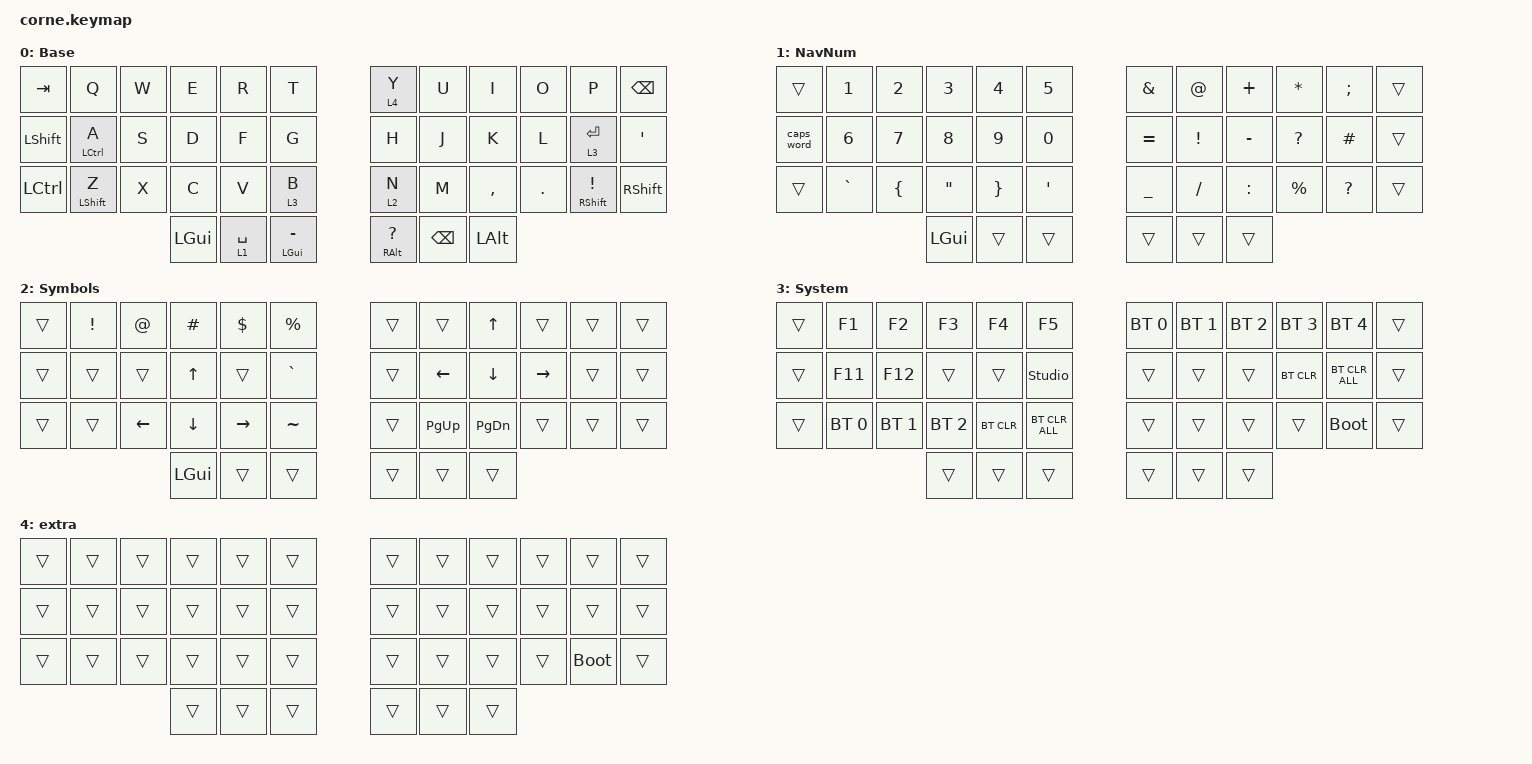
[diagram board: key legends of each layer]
#include <behaviors.dtsi>
#include <dt-bindings/zmk/bt.h>
#include <dt-bindings/zmk/keys.h>

#define DEF 0
#define NAV 1
#define SYM 2
#define ADJ 3
#define EXTRA 4

/ {
    behaviors {
        hm: homerow_mods {
            compatible = "zmk,behavior-hold-tap";
            label = "HOMEROW_MODS";
            #binding-cells = <2>;
            tapping-term-ms = <200>;
            quick_tap_ms = <0>;
            flavor = "tap-preferred";
            bindings = <&kp>, <&kp>;

            quick-tap-ms = <180>;
            global-quick-tap;
        };

        para: para {
            compatible = "zmk,behavior-tap-dance";
            label = "PARA";
            #binding-cells = <0>;
            bindings = <&kp LEFT_PARENTHESIS>, <&kp RIGHT_PARENTHESIS>;
        };

        caps: caps {
            compatible = "zmk,behavior-caps-word";
            label = "CAPS";
            #binding-cells = <0>;
            continue-list = <MINUS BACKSPACE>;
        };

        paraless: paraless {
            compatible = "zmk,behavior-mod-morph";
            label = "PARALESS";
            bindings = <&kp LEFT_PARENTHESIS>, <&kp LESS_THAN>;

            #binding-cells = <0>;
            mods = <(MOD_LSFT)>;
        };

        paragreat: paragreat {
            compatible = "zmk,behavior-mod-morph";
            label = "PARAGREAT";
            bindings = <&kp RIGHT_PARENTHESIS>, <&kp GREATER_THAN>;

            #binding-cells = <0>;
            mods = <(MOD_LSFT)>;
        };
    };

    macros {
        browsertab: browsertab {
            compatible = "zmk,behavior-macro";
            #binding-cells = <0>;
            bindings =
                <&macro_press>,
                <&kp LCTRL>,
                <&macro_tap>,
                <&kp TAB>,
                <&macro_release>,
                <&kp LCTRL>;
        };
    };

    combos {
        compatible = "zmk,combos";

        escape {
            bindings = <&kp ESCAPE>;
            key-positions = <13 29>;
        };

        tab {
            bindings = <&kp TAB>;
            key-positions = <1 2>;
        };

        kagikakkoL {
            bindings = <&kp LEFT_BRACE>;
            key-positions = <16 15>;
        };

        kagikakkoR {
            bindings = <&kp RIGHT_BRACE>;
            key-positions = <19 20>;
        };

        kana {
            bindings = <&kp LANGUAGE_1>;
            key-positions = <25 26>;
        };

        eisu {
            bindings = <&kp LANGUAGE_2>;
            key-positions = <33 34>;
        };

        marukakkoL {
            bindings = <&kp LEFT_PARENTHESIS>;
            key-positions = <16 14>;
        };

        marukakkoR {
            bindings = <&kp RIGHT_PARENTHESIS>;
            key-positions = <19 21>;
        };
    };

    //

    keymap {
        compatible = "zmk,keymap";

        DEF {
            display-name = "Base";

            // -----------------------------------------------------------------------------------------
            // |  Q  |  W  |  E  |  R  |  T  |   |  Y  |  U   |  I  |  O  |  P  |
            // |  A  |  S  |  D  |  F  |  G  |   |  H  |  J   |  K  |  L  |  ;  |
            // |  Z  |  X  |  C  |  V  |  B  |   |  N  |  M   |  ,  |  .  |  /  |
            // | GUI | CTRL | SHFT | LWR | SPC |   | ENT | RSE  | BKSP | ALT | ESC |

            bindings = <
&kp TAB    &kp Q               &kp W  &kp E     &kp R        &kp T                 &lt 4 Y                 &kp U          &kp I         &kp O    &kp P                        &kp BACKSPACE
&kp LSHFT  &mt LEFT_CONTROL A  &kp S  &kp D     &kp F        &kp G                 &kp H                   &kp J          &kp K         &kp L    &lt 3 ENTER                  &kp SQT
&kp LCTRL  &mt LEFT_SHIFT Z    &kp X  &kp C     &kp V        &lt 3 B               &lt 2 N                 &kp M          &kp COMMA     &kp DOT  &mt RIGHT_SHIFT EXCLAMATION  &kp RSHFT
                                      &kp LGUI  &lt 1 SPACE  &mt LEFT_GUI MINUS    &mt RIGHT_ALT QUESTION  &kp BACKSPACE  &kp LEFT_ALT
            >;
        };

        NAV {
            display-name = "NavNum";

            // -----------------------------------------------------------------------------------------
            // |  TAB |  1  |  2  |  3  |  4  |  5  |   |  6  |  7  |  8  |  9  |  0  | BKSP |
            // | BTCLR| BT1 | BT2 | BT3 | BT4 | BT5 |   | LFT | DWN |  UP | RGT |     |      |
            // | SHFT |     |     |     |     |     |   |     |     |     |     |     |      |
            // | GUI | CTRL | SHFT | LWR | SPC |   | ENT | RSE  | BKSP | ALT | ESC |

            bindings = <
&trans      &kp N1        &kp N2          &kp N3             &kp N4           &kp N5          &kp AMPERSAND   &kp AT_SIGN      &kp PLUS   &kp ASTERISK  &kp SEMICOLON  &trans
&caps_word  &kp NUMBER_6  &kp NUMBER_7    &kp NUMBER_8       &kp NUMBER_9     &kp NUMBER_0    &kp EQUAL       &kp EXCLAMATION  &kp MINUS  &kp QUESTION  &kp HASH       &trans
&trans      &kp GRAVE     &kp LEFT_BRACE  &kp DOUBLE_QUOTES  &kp RIGHT_BRACE  &kp SQT         &kp UNDERSCORE  &kp SLASH        &kp COLON  &kp PERCENT   &kp QUESTION   &trans
                                          &kp LGUI           &trans           &trans          &trans          &trans           &trans
            >;
        };

        SYM {
            display-name = "Symbols";

            // -----------------------------------------------------------------------------------------
            // |  TAB |  !  |  @  |  #  |  $  |  %  |   |  ^  |  &  |  *  |  (  |  )  | BKSP |
            // | CTRL |     |     |     |     |     |   |  -  |  =  |  [  |  ]  |  \  |  `   |
            // | SHFT |     |     |     |     |     |   |  _  |  +  |  {  |  }  | "|" |  ~   |
            //                    | GUI |     | SPC |   | ENT |     | ALT |

            bindings = <
&trans  &kp EXCL  &kp AT          &kp HASH        &kp DLLR         &kp PRCNT    &trans  &trans          &kp UP_ARROW    &trans     &trans  &trans
&trans  &trans    &trans          &kp UP_ARROW    &trans           &kp GRAVE    &trans  &kp LEFT_ARROW  &kp DOWN_ARROW  &kp RIGHT  &trans  &trans
&trans  &trans    &kp LEFT_ARROW  &kp DOWN_ARROW  &kp RIGHT_ARROW  &kp TILDE    &trans  &kp PAGE_UP     &kp PAGE_DOWN   &trans     &trans  &trans
                                  &kp LGUI        &trans           &trans       &trans  &trans          &trans
            >;
        };

        ADJ {
            display-name = "System";
            bindings = <
&trans  &kp F1        &kp F2        &kp F3        &kp F4      &kp F5            &bt BT_SEL 0  &bt BT_SEL 1  &bt BT_SEL 2  &bt BT_SEL 3  &bt BT_SEL 4    &trans
&trans  &kp F11       &kp F12       &trans        &trans      &studio_unlock    &trans        &trans        &trans        &bt BT_CLR    &bt BT_CLR_ALL  &trans
&trans  &bt BT_SEL 0  &bt BT_SEL 1  &bt BT_SEL 2  &bt BT_CLR  &bt BT_CLR_ALL    &trans        &trans        &trans        &trans        &bootloader     &trans
                                    &trans        &trans      &trans            &trans        &trans        &trans
            >;
        };

        EXTRA {
            display-name = "extra";
            bindings = <
&trans  &trans  &trans  &trans  &trans  &trans    &trans  &trans  &trans  &trans  &trans       &trans
&trans  &trans  &trans  &trans  &trans  &trans    &trans  &trans  &trans  &trans  &trans       &trans
&trans  &trans  &trans  &trans  &trans  &trans    &trans  &trans  &trans  &trans  &bootloader  &trans
                        &trans  &trans  &trans    &trans  &trans  &trans
            >;
        };
    };

    conditional_layers {
        compatible = "zmk,conditional-layers";

        l3 {
            if-layers = <1 2>;
            then-layer = <3>;
        };
    };
};
